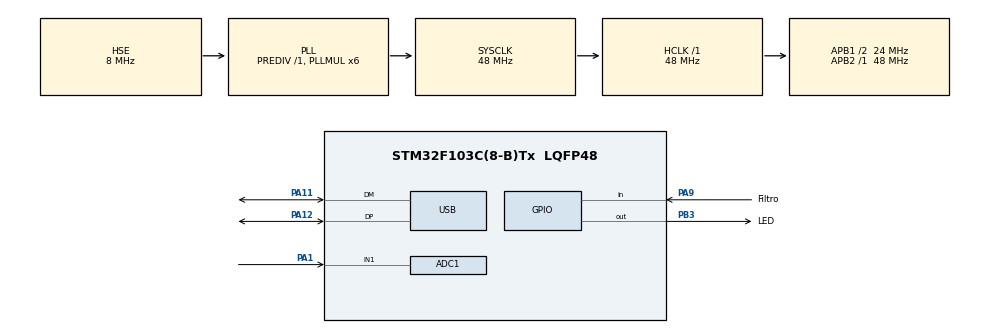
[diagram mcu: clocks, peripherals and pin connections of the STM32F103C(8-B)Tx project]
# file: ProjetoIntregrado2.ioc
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ADC1.Channel-4\#ChannelRegularConversion=ADC_CHANNEL_1
ADC1.NbrOfConversionFlag=1
ADC1.Rank-4\#ChannelRegularConversion=1
ADC1.SamplingTime-4\#ChannelRegularConversion=ADC_SAMPLETIME_1CYCLE_5
ADC1.master=1
Mcu.Family=STM32F1
Mcu.Name=STM32F103C(8-B)Tx
Mcu.Package=LQFP48
NVIC.PriorityGroup=NVIC_PRIORITYGROUP_4
NVIC.USB_LP_CAN1_RX0_IRQn=true\:0\:0\:false\:false\:true\:false\:true
PA1.Signal=ADCx_IN1
PA11.Mode=Device
PA11.Signal=USB_DM
PA12.Mode=Device
PA12.Signal=USB_DP
PA13.Mode=Serial_Wire
PA13.Signal=SYS_JTMS-SWDIO
PA14.Mode=Serial_Wire
PA14.Signal=SYS_JTCK-SWCLK
PA9.GPIO_Label=Filtro
PA9.GPIO_PuPd=GPIO_PULLUP
PA9.Signal=GPIO_Input
PB3.GPIO_Label=LED
PB3.Signal=GPIO_Output
PD0-OSC_IN.Mode=HSE-External-Oscillator
PD0-OSC_IN.Signal=RCC_OSC_IN
PD1-OSC_OUT.Mode=HSE-External-Oscillator
PD1-OSC_OUT.Signal=RCC_OSC_OUT
ProjectManager.HeapSize=0x200
ProjectManager.StackSize=0x400
ProjectManager.TargetToolchain=STM32CubeIDE
RCC.ADCPresc=RCC_ADCPCLK2_DIV4
RCC.AHBFreq_Value=48000000
RCC.APB1CLKDivider=RCC_HCLK_DIV2
RCC.APB1Freq_Value=24000000
RCC.APB1TimFreq_Value=48000000
RCC.APB2Freq_Value=48000000
RCC.APB2TimFreq_Value=48000000
RCC.HCLKFreq_Value=48000000
RCC.PLLMUL=RCC_PLL_MUL6
RCC.SYSCLKFreq_VALUE=48000000
RCC.SYSCLKSource=RCC_SYSCLKSOURCE_PLLCLK
RCC.USBFreq_Value=48000000
SH.ADCx_IN1.0=ADC1_IN1,IN1
USB_DEVICE.CLASS_NAME_FS=CDC
USB_DEVICE.VirtualMode=Cdc
USB_DEVICE.VirtualModeFS=Cdc_FS
VP_USB_DEVICE_VS_USB_DEVICE_CDC_FS.Mode=CDC_FS
board=custom

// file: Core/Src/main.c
/* USER CODE BEGIN Header */
/**
  ******************************************************************************
  * @file           : main.c
  * @brief          : Main program body
  ******************************************************************************
  * @attention
  *
  * <h2><center>&copy; Copyright (c) 2026 STMicroelectronics.
  * All rights reserved.</center></h2>
  *
  * This software component is licensed by ST under BSD 3-Clause license,
  * the "License"; You may not use this file except in compliance with the
  * License. You may obtain a copy of the License at:
  *                        opensource.org/licenses/BSD-3-Clause
  *
  ******************************************************************************
  */
/* USER CODE END Header */
#include "main.h"
#include "usb_device.h"

/* USER CODE BEGIN PD */
#define BtnFiltro HAL_GPIO_ReadPin(Filtro_GPIO_Port, Filtro_Pin)
#define TAMANHO_FILTRO 5
#define LED_ON    HAL_GPIO_WritePin(LED_GPIO_Port, LED_Pin, 1)
#define LED_OFF   HAL_GPIO_WritePin(LED_GPIO_Port, LED_Pin, 0)
/* USER CODE END PD */

ADC_HandleTypeDef hadc1;

void SystemClock_Config(void);
static void MX_GPIO_Init(void);
static void MX_ADC1_Init(void);

int main(void)
{

  /* MCU Configuration--------------------------------------------------------*/

  /* Reset of all peripherals, Initializes the Flash interface and the Systick. */
  HAL_Init();

  /* Configure the system clock */
  SystemClock_Config();

  /* Initialize all configured peripherals */
  MX_GPIO_Init();
  MX_USB_DEVICE_Init();
  MX_ADC1_Init();
  /* USER CODE BEGIN 2 */

  uint8_t filtroAtivo = 0;

  uint16_t adc;

  float valorFiltrado = 0;

  float leituras[TAMANHO_FILTRO] = {0};

  float soma = 0;

  uint8_t indice = 0;

  uint32_t tempoAnterior = 0;

  uint8_t frame[5];
  /* USER CODE END 2 */

  /* Infinite loop */
  /* USER CODE BEGIN WHILE */
  while (1)
  {
	     // BOTÃO DO FILTRO
	     GPIO_PinState estadoAtual = BtnFiltro;

	     if (estadoAtual == 0)
	     {
	         filtroAtivo = !filtroAtivo; // muda o estado da variavel(1 ou 0)

	         // Limpa o filtro quando mudar de estado
	         soma = 0;
	         indice = 0;

	         for (int i = 0; i < TAMANHO_FILTRO; i++)
	         {
	             leituras[i] = 0;
	         }

	         HAL_Delay(50);
	     }

	     // LEITURA DO ADC
	     HAL_ADC_Start(&hadc1); // inicia a conversão(analogico --> digital)

	     HAL_ADC_PollForConversion(&hadc1, HAL_MAX_DELAY); // espera a converção terminar

	     adc = HAL_ADC_GetValue(&hadc1); // armazena o valor na variavel adc

	     // FILTRO
	     if (filtroAtivo)
	     {
	    	 LED_ON; // ativa o led quando o filtro estivar ativo

	         soma -= leituras[indice];

	         leituras[indice] = adc;

	         soma += leituras[indice];

	         indice++;

	         if (indice >= TAMANHO_FILTRO)
	         {
	             indice = 0;
	         }

	         valorFiltrado = soma / TAMANHO_FILTRO;
	     }
	     else
	     {
	         valorFiltrado = adc;
	         LED_OFF;
	     }

	     // ENVIO A CADA 1 SEGUNDO

	     if (HAL_GetTick() - tempoAnterior >= 1000)
	     {
	         tempoAnterior = HAL_GetTick();

	         uint16_t valor_bruto = (uint16_t)valorFiltrado; // converte de float para uint

	         // inicia o protocolo de comunicação
	         frame[0] = 0xAA; // inicio do pacote

	         // ADC 16 bits
	         frame[1] = (valor_bruto >> 8) & 0xFF; // pega os 8 primeiros bits
	         frame[2] = valor_bruto & 0xFF; // pega o restante

	         // Filtro
	         frame[3] = filtroAtivo;

	         // Checksum
	         frame[4] = frame[0] ^ frame[1] ^ frame[2] ^ frame[3];

	         CDC_Transmit_FS(frame, 6); //  envia para o computador
	     }

	     HAL_Delay(100);
    /* USER CODE END WHILE */

  }
}

void SystemClock_Config(void)
{
  RCC_OscInitTypeDef RCC_OscInitStruct = {0};
  RCC_ClkInitTypeDef RCC_ClkInitStruct = {0};
  RCC_PeriphCLKInitTypeDef PeriphClkInit = {0};

  /** Initializes the RCC Oscillators according to the specified parameters
  * in the RCC_OscInitTypeDef structure.
  */
  RCC_OscInitStruct.OscillatorType = RCC_OSCILLATORTYPE_HSE;
  RCC_OscInitStruct.HSEState = RCC_HSE_ON;
  RCC_OscInitStruct.HSEPredivValue = RCC_HSE_PREDIV_DIV1;
  RCC_OscInitStruct.HSIState = RCC_HSI_ON;
  RCC_OscInitStruct.PLL.PLLState = RCC_PLL_ON;
  RCC_OscInitStruct.PLL.PLLSource = RCC_PLLSOURCE_HSE;
  RCC_OscInitStruct.PLL.PLLMUL = RCC_PLL_MUL6;
  if (HAL_RCC_OscConfig(&RCC_OscInitStruct) != HAL_OK)
  {
    Error_Handler();
  }
  /** Initializes the CPU, AHB and APB buses clocks
  */
  RCC_ClkInitStruct.ClockType = RCC_CLOCKTYPE_HCLK|RCC_CLOCKTYPE_SYSCLK
                              |RCC_CLOCKTYPE_PCLK1|RCC_CLOCKTYPE_PCLK2;
  RCC_ClkInitStruct.SYSCLKSource = RCC_SYSCLKSOURCE_PLLCLK;
  RCC_ClkInitStruct.AHBCLKDivider = RCC_SYSCLK_DIV1;
  RCC_ClkInitStruct.APB1CLKDivider = RCC_HCLK_DIV2;
  RCC_ClkInitStruct.APB2CLKDivider = RCC_HCLK_DIV1;

  if (HAL_RCC_ClockConfig(&RCC_ClkInitStruct, FLASH_LATENCY_1) != HAL_OK)
  {
    Error_Handler();
  }
  PeriphClkInit.PeriphClockSelection = RCC_PERIPHCLK_ADC|RCC_PERIPHCLK_USB;
  PeriphClkInit.AdcClockSelection = RCC_ADCPCLK2_DIV4;
  PeriphClkInit.UsbClockSelection = RCC_USBCLKSOURCE_PLL;
  if (HAL_RCCEx_PeriphCLKConfig(&PeriphClkInit) != HAL_OK)
  {
    Error_Handler();
  }
}

static void MX_ADC1_Init(void)
{

  ADC_ChannelConfTypeDef sConfig = {0};

  /** Common config
  */
  hadc1.Instance = ADC1;
  hadc1.Init.ScanConvMode = ADC_SCAN_DISABLE;
  hadc1.Init.ContinuousConvMode = DISABLE;
  hadc1.Init.DiscontinuousConvMode = DISABLE;
  hadc1.Init.ExternalTrigConv = ADC_SOFTWARE_START;
  hadc1.Init.DataAlign = ADC_DATAALIGN_RIGHT;
  hadc1.Init.NbrOfConversion = 1;
  if (HAL_ADC_Init(&hadc1) != HAL_OK)
  {
    Error_Handler();
  }
  /** Configure Regular Channel
  */
  sConfig.Channel = ADC_CHANNEL_1;
  sConfig.Rank = ADC_REGULAR_RANK_1;
  sConfig.SamplingTime = ADC_SAMPLETIME_1CYCLE_5;
  if (HAL_ADC_ConfigChannel(&hadc1, &sConfig) != HAL_OK)
  {
    Error_Handler();
  }

}

static void MX_GPIO_Init(void)
{
  GPIO_InitTypeDef GPIO_InitStruct = {0};

  /* GPIO Ports Clock Enable */
  __HAL_RCC_GPIOD_CLK_ENABLE();
  __HAL_RCC_GPIOA_CLK_ENABLE();
  __HAL_RCC_GPIOB_CLK_ENABLE();

  /*Configure GPIO pin Output Level */
  HAL_GPIO_WritePin(LED_GPIO_Port, LED_Pin, GPIO_PIN_RESET);

  /*Configure GPIO pin : Filtro_Pin */
  GPIO_InitStruct.Pin = Filtro_Pin;
  GPIO_InitStruct.Mode = GPIO_MODE_INPUT;
  GPIO_InitStruct.Pull = GPIO_PULLUP;
  HAL_GPIO_Init(Filtro_GPIO_Port, &GPIO_InitStruct);

  /*Configure GPIO pin : LED_Pin */
  GPIO_InitStruct.Pin = LED_Pin;
  GPIO_InitStruct.Mode = GPIO_MODE_OUTPUT_PP;
  GPIO_InitStruct.Pull = GPIO_NOPULL;
  GPIO_InitStruct.Speed = GPIO_SPEED_FREQ_LOW;
  HAL_GPIO_Init(LED_GPIO_Port, &GPIO_InitStruct);

}

void Error_Handler(void)
{
  __disable_irq();
  while (1)
  {
  }
}

/************************ (C) COPYRIGHT STMicroelectronics *****END OF FILE****/
